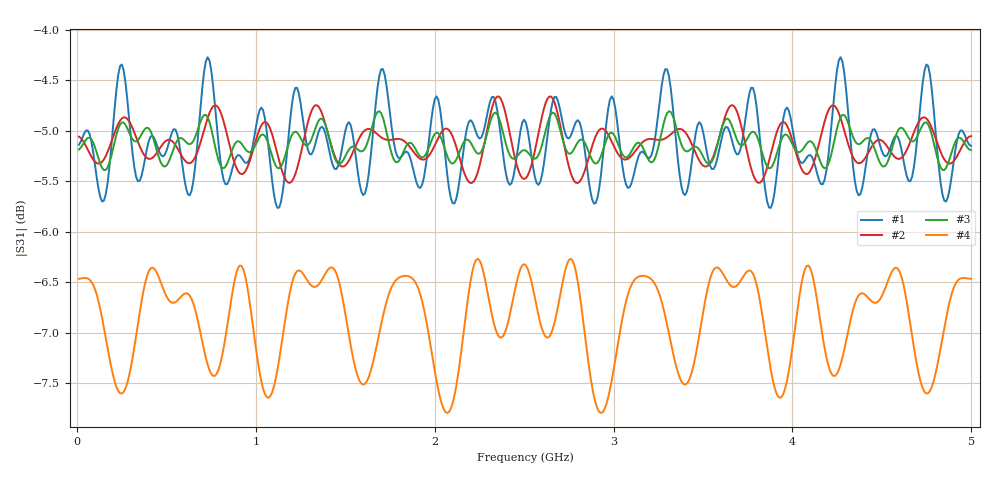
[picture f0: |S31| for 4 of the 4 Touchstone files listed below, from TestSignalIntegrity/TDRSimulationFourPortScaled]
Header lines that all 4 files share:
# MHz MA S R 50.0
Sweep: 10 MHz to 5 GHz
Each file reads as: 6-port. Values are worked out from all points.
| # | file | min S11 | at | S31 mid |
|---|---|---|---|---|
| 1 | TDRSimulationFourPortThru121Scaled.s6p | -9.9 dB | 2.02 GHz | -4.9 dB at 2.51 GHz |
| 2 | TDRSimulationFourPortThru131Scaled.s6p | -6.9 dB | 1.14 GHz | -5.5 dB at 2.51 GHz |
| 3 | TDRSimulationFourPortThru141Scaled.s6p | -5.9 dB | 1.07 GHz | -5.2 dB at 2.51 GHz |
| 4 | TDRSimulationFourPortThru232Scaled.s6p | -8.6 dB | 2.5 GHz | -6.3 dB at 2.51 GHz |
